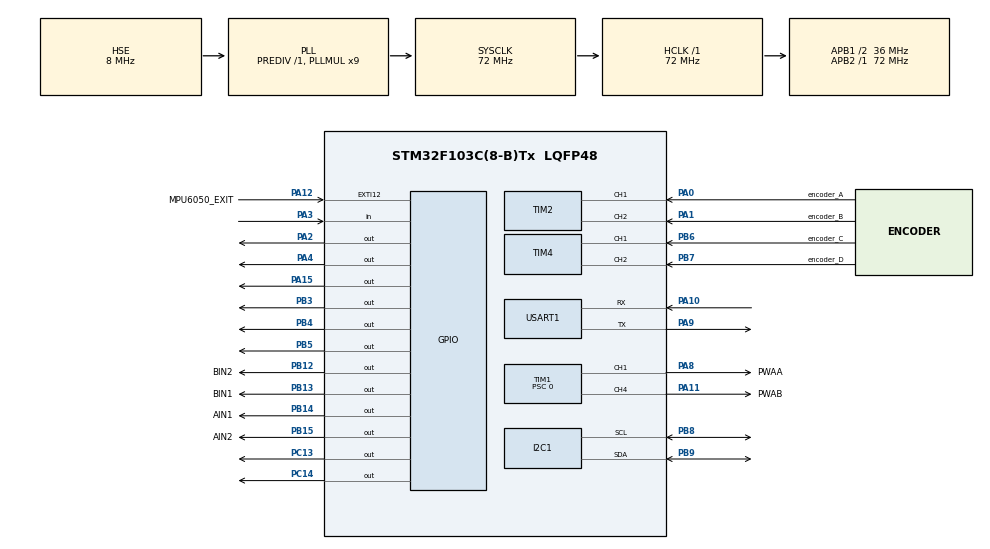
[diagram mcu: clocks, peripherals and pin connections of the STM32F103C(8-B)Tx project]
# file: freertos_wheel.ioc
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FREERTOS.Tasks01=defaultTask,24,128,StartDefaultTask,Default,NULL,Dynamic,NULL,NULL
FREERTOS.configTOTAL_HEAP_SIZE=12288
Mcu.Family=STM32F1
Mcu.Name=STM32F103C(8-B)Tx
Mcu.Package=LQFP48
NVIC.EXTI15_10_IRQn=true\:5\:0\:false\:false\:true\:true\:true\:true\:true
NVIC.I2C1_ER_IRQn=true\:5\:0\:false\:false\:true\:true\:true\:true\:true
NVIC.I2C1_EV_IRQn=true\:5\:0\:false\:false\:true\:true\:true\:true\:true
NVIC.PriorityGroup=NVIC_PRIORITYGROUP_4
NVIC.TIM3_IRQn=true\:15\:0\:false\:false\:true\:false\:false\:true\:true
NVIC.TimeBase=TIM3_IRQn
NVIC.TimeBaseIP=TIM3
NVIC.USART1_IRQn=true\:5\:0\:false\:false\:true\:true\:true\:true\:true
PA0-WKUP.GPIO_Label=encoder_A
PA0-WKUP.Signal=S_TIM2_CH1_ETR
PA1.GPIO_Label=encoder_B
PA1.Signal=S_TIM2_CH2
PA10.Mode=Asynchronous
PA10.Signal=USART1_RX
PA11.GPIO_Label=PWAB
PA11.Signal=S_TIM1_CH4
PA12.GPIO_Label=MPU6050_EXIT
PA12.GPIO_ModeDefaultEXTI=GPIO_MODE_IT_FALLING
PA12.GPIO_PuPd=GPIO_PULLUP
PA12.Signal=GPXTI12
PA13.Mode=Serial_Wire
PA13.Signal=SYS_JTMS-SWDIO
PA14.Mode=Serial_Wire
PA14.Signal=SYS_JTCK-SWCLK
PA15.GPIO_Speed=GPIO_SPEED_FREQ_MEDIUM
PA15.Signal=GPIO_Output
PA2.GPIO_Speed=GPIO_SPEED_FREQ_HIGH
PA2.Signal=GPIO_Output
PA3.GPIO_PuPd=GPIO_PULLDOWN
PA3.Signal=GPIO_Input
PA4.Signal=GPIO_Output
PA8.GPIO_Label=PWAA
PA8.Signal=S_TIM1_CH1
PA9.Mode=Asynchronous
PA9.Signal=USART1_TX
PB12.GPIO_Label=BIN2
PB12.GPIO_Speed=GPIO_SPEED_FREQ_HIGH
PB12.Signal=GPIO_Output
PB13.GPIO_Label=BIN1
PB13.GPIO_Speed=GPIO_SPEED_FREQ_HIGH
PB13.Signal=GPIO_Output
PB14.GPIO_Label=AIN1
PB14.GPIO_Speed=GPIO_SPEED_FREQ_HIGH
PB14.Signal=GPIO_Output
PB15.GPIO_Label=AIN2
PB15.GPIO_Speed=GPIO_SPEED_FREQ_HIGH
PB15.Signal=GPIO_Output
PB3.GPIO_Speed=GPIO_SPEED_FREQ_MEDIUM
PB3.Signal=GPIO_Output
PB4.GPIO_Speed=GPIO_SPEED_FREQ_MEDIUM
PB4.Signal=GPIO_Output
PB5.GPIO_Speed=GPIO_SPEED_FREQ_MEDIUM
PB5.Signal=GPIO_Output
PB6.GPIO_Label=encoder_C
PB6.Signal=S_TIM4_CH1
PB7.GPIO_Label=encoder_D
PB7.Signal=S_TIM4_CH2
PB8.Mode=I2C
PB8.Signal=I2C1_SCL
PB9.Mode=I2C
PB9.Signal=I2C1_SDA
PC13-TAMPER-RTC.GPIO_Speed=GPIO_SPEED_FREQ_HIGH
PC13-TAMPER-RTC.Signal=GPIO_Output
PC14-OSC32_IN.GPIO_Speed=GPIO_SPEED_FREQ_HIGH
PC14-OSC32_IN.Signal=GPIO_Output
PD0-OSC_IN.Mode=HSE-External-Oscillator
PD0-OSC_IN.Signal=RCC_OSC_IN
PD1-OSC_OUT.Mode=HSE-External-Oscillator
PD1-OSC_OUT.Signal=RCC_OSC_OUT
ProjectManager.HeapSize=0x200
ProjectManager.StackSize=0x400
ProjectManager.TargetToolchain=MDK-ARM V5.32
RCC.AHBFreq_Value=72000000
RCC.APB1CLKDivider=RCC_HCLK_DIV2
RCC.APB1Freq_Value=36000000
RCC.APB1TimFreq_Value=72000000
RCC.APB2Freq_Value=72000000
RCC.APB2TimFreq_Value=72000000
RCC.HCLKFreq_Value=72000000
RCC.PLLMUL=RCC_PLL_MUL9
RCC.PLLSourceVirtual=RCC_PLLSOURCE_HSE
RCC.SYSCLKFreq_VALUE=72000000
RCC.SYSCLKSource=RCC_SYSCLKSOURCE_PLLCLK
RCC.TimSys_Div=SYSTICK_CLKSOURCE_HCLK_DIV8
RCC.USBFreq_Value=72000000
SH.S_TIM1_CH1.0=TIM1_CH1,PWM Generation1 CH1
SH.S_TIM1_CH4.0=TIM1_CH4,PWM Generation4 CH4
SH.S_TIM2_CH1_ETR.0=TIM2_CH1,Encoder_Interface
SH.S_TIM2_CH2.0=TIM2_CH2,Encoder_Interface
SH.S_TIM4_CH1.0=TIM4_CH1,Encoder_Interface
SH.S_TIM4_CH2.0=TIM4_CH2,Encoder_Interface
TIM1.AutoReloadPreload=TIM_AUTORELOAD_PRELOAD_ENABLE
TIM1.Channel-PWM\ Generation1\ CH1=TIM_CHANNEL_1
TIM1.Channel-PWM\ Generation4\ CH4=TIM_CHANNEL_4
TIM1.Period=7199
TIM1.Prescaler=0
TIM2.EncoderMode=TIM_ENCODERMODE_TI12
TIM2.IC1Filter=10
TIM2.IC2Filter=10
TIM4.EncoderMode=TIM_ENCODERMODE_TI12
USART1.VirtualMode=VM_ASYNC
VP_FREERTOS_VS_CMSIS_V2.Mode=CMSIS_V2
VP_SYS_VS_tim3.Mode=TIM3
board=custom

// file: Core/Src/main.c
/* USER CODE BEGIN Header */
/**
  ******************************************************************************
  * @file           : main.c
  * @brief          : Main program body
  ******************************************************************************
  * @attention
  *
  * Copyright (c) 2026 STMicroelectronics.
  * All rights reserved.
  *
  * This software is licensed under terms that can be found in the LICENSE file
  * in the root directory of this software component.
  * If no LICENSE file comes with this software, it is provided AS-IS.
  *
  ******************************************************************************
  */
/* USER CODE END Header */
#include "main.h"
#include "cmsis_os.h"
#include "i2c.h"
#include "tim.h"
#include "usart.h"
#include "gpio.h"

void SystemClock_Config(void);
void MX_FREERTOS_Init(void);

int main(void)
{

  /* MCU Configuration--------------------------------------------------------*/

  /* Reset of all peripherals, Initializes the Flash interface and the Systick. */
  HAL_Init();

  /* Configure the system clock */
  SystemClock_Config();

  /* Initialize all configured peripherals */
  MX_GPIO_Init();
  MX_TIM1_Init();
  MX_TIM2_Init();
  MX_TIM4_Init();
  MX_USART1_UART_Init();
  MX_I2C1_Init();

  /* Init scheduler */
  osKernelInitialize();  /* Call init function for freertos objects (in cmsis_os2.c) */
  MX_FREERTOS_Init();

  /* Start scheduler */
  osKernelStart();

  /* We should never get here as control is now taken by the scheduler */

  /* Infinite loop */
  while (1)
  {

  }
}

void SystemClock_Config(void)
{
  RCC_OscInitTypeDef RCC_OscInitStruct = {0};
  RCC_ClkInitTypeDef RCC_ClkInitStruct = {0};

  /** Initializes the RCC Oscillators according to the specified parameters
  * in the RCC_OscInitTypeDef structure.
  */
  RCC_OscInitStruct.OscillatorType = RCC_OSCILLATORTYPE_HSE;
  RCC_OscInitStruct.HSEState = RCC_HSE_ON;
  RCC_OscInitStruct.HSEPredivValue = RCC_HSE_PREDIV_DIV1;
  RCC_OscInitStruct.HSIState = RCC_HSI_ON;
  RCC_OscInitStruct.PLL.PLLState = RCC_PLL_ON;
  RCC_OscInitStruct.PLL.PLLSource = RCC_PLLSOURCE_HSE;
  RCC_OscInitStruct.PLL.PLLMUL = RCC_PLL_MUL9;
  if (HAL_RCC_OscConfig(&RCC_OscInitStruct) != HAL_OK)
  {
    Error_Handler();
  }

  /** Initializes the CPU, AHB and APB buses clocks
  */
  RCC_ClkInitStruct.ClockType = RCC_CLOCKTYPE_HCLK|RCC_CLOCKTYPE_SYSCLK
                              |RCC_CLOCKTYPE_PCLK1|RCC_CLOCKTYPE_PCLK2;
  RCC_ClkInitStruct.SYSCLKSource = RCC_SYSCLKSOURCE_PLLCLK;
  RCC_ClkInitStruct.AHBCLKDivider = RCC_SYSCLK_DIV1;
  RCC_ClkInitStruct.APB1CLKDivider = RCC_HCLK_DIV2;
  RCC_ClkInitStruct.APB2CLKDivider = RCC_HCLK_DIV1;

  if (HAL_RCC_ClockConfig(&RCC_ClkInitStruct, FLASH_LATENCY_2) != HAL_OK)
  {
    Error_Handler();
  }
}

void HAL_TIM_PeriodElapsedCallback(TIM_HandleTypeDef *htim)
{
  if (htim->Instance == TIM3)
  {
    HAL_IncTick();
  }
}

void Error_Handler(void)
{
  __disable_irq();
  while (1)
  {
  }
}

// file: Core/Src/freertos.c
/* USER CODE BEGIN Header */
/**
  ******************************************************************************
  * File Name          : freertos.c
  * Description        : Code for freertos applications
  ******************************************************************************
  * @attention
  *
  * Copyright (c) 2026 STMicroelectronics.
  * All rights reserved.
  *
  * This software is licensed under terms that can be found in the LICENSE file
  * in the root directory of this software component.
  * If no LICENSE file comes with this software, it is provided AS-IS.
  *
  ******************************************************************************
  */
/* USER CODE END Header */

#include "FreeRTOS.h"
#include "task.h"
#include "main.h"
#include "cmsis_os.h"

/* USER CODE BEGIN Includes */
#include "init.h"
#include "jspool.h"
#include "user_lib.h"
/* USER CODE END Includes */

/* USER CODE BEGIN PTD */
#define JTAG_SWD_DISABLE   0X02
#define SWD_ENABLE         0X01
#define JTAG_SWD_ENABLE    0X00
/* USER CODE END PTD */

/* Definitions for defaultTask */
osThreadId_t defaultTaskHandle;
const osThreadAttr_t defaultTask_attributes = {
  .name = "defaultTask",
  .stack_size = 128 * 4,
  .priority = (osPriority_t) osPriorityNormal,
};

/* USER CODE BEGIN FunctionPrototypes */
void JTAG_Set(uint8_t mode)
{
	uint32_t temp;
	temp=mode;
	temp<<=25;
	RCC->APB2ENR|=1<<0;
	AFIO->MAPR&=0XF8FFFFFF;
	AFIO->MAPR|=temp;
}
/* USER CODE END FunctionPrototypes */

void StartDefaultTask(void *argument);

void MX_FREERTOS_Init(void); /* (MISRA C 2004 rule 8.1) */

void MX_FREERTOS_Init(void) {

  /* USER CODE BEGIN RTOS_SEMAPHORES */
  /* add semaphores, ... */
  JTAG_Set(JTAG_SWD_DISABLE);
  JTAG_Set(SWD_ENABLE);

  /* USER CODE END RTOS_SEMAPHORES */

  /* USER CODE BEGIN RTOS_TIMERS */
  /* start timers, add new ones, ... */
	extern void motor_tim_init(void);
	motor_tim_init();

	extern void oled_driver_Init(void);
	oled_driver_Init();

	extern void io_iic_init(void);
	io_iic_init();

	extern void oled_module_init(void);
	oled_module_init();

  /* USER CODE END RTOS_TIMERS */

  /* Create the thread(s) */
  /* creation of defaultTask */
  defaultTaskHandle = osThreadNew(StartDefaultTask, NULL, &defaultTask_attributes);

}

void StartDefaultTask(void *argument)
{
  /* USER CODE BEGIN StartDefaultTask */
//	extern void func_auto_init(void);
//	func_auto_init();
	ASSERT(jspool_init() == JSPOOL_OK);

	extern void mpu6050_init(void);
	mpu6050_init();

	extern void PS2_SetInit(void);
	PS2_SetInit();

	osDelay(1000);

	extern void isr_app_init(void);
	isr_app_init();

	HAL_NVIC_EnableIRQ(EXTI15_10_IRQn);
  /* Infinite loop */
  for(;;)
  {
	HAL_GPIO_TogglePin(GPIOA, GPIO_PIN_4);
    osDelay(500);
  }
  /* USER CODE END StartDefaultTask */
}
